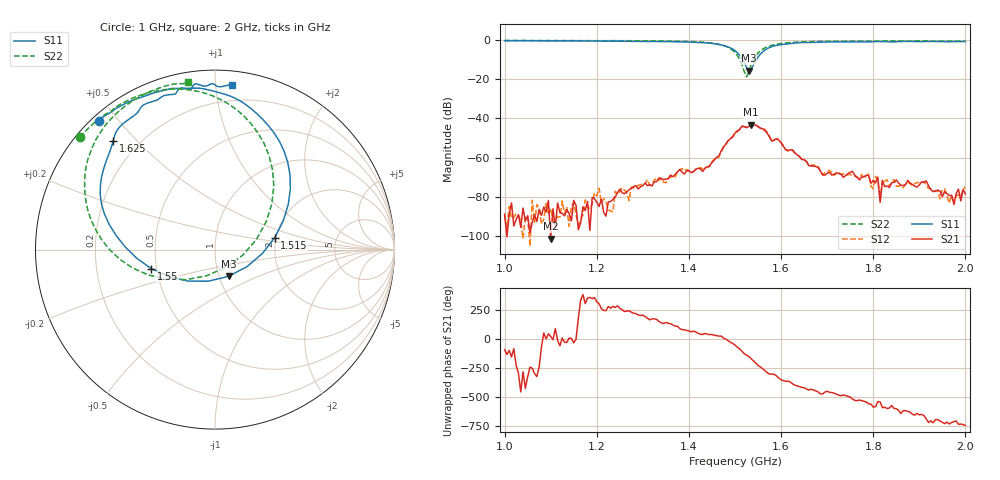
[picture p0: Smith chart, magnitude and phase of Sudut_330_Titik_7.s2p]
# Hz S RI R 50
! CMT, C1220, 16058040, 17.2.0/1
! Date: 14/08/2018 12:17:05
! Data: Format (Calibration Info)
! Freq  S11: Re/Im (F2)  S21: Re/Im (F2)  S12: Re/Im (F2)  S22: Re/Im (F2)
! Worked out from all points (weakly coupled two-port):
!   201 points, 1 GHz to 2 GHz, reference 50 ohm
!   highest |S21| = -43.24 dB at 1.535 GHz (marker M1); lowest = -101.4 dB at 1.1 GHz (marker M2)
!   lowest |S11| = -15.5 dB at 1.53 GHz (marker M3), VSWR 1.40, Z = 55.5 - j17 ohm
!   |S11| at or under -10 dB: 1.516 GHz to 1.546 GHz (29.88 MHz wide, 1.95 % of centre)
!   |S22| runs from -18.7 to -0.2 dB; largest |S21 - S12| = 0.00033
!   S11 on the Smith chart (normalised r, x): 1 GHz: 0.02, +0.44; 1.515 GHz: 1.97, +0.30; 1.55 GHz: 0.47, -0.12; 1.625 GHz: 0.11, +0.43; 2 GHz: 0.09, +1.11
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1e9  -0.6485 0.7145  -2.88e-06 -3.61e-05  3e-06 3.53e-05  -0.7538 0.6247
1.1e9  -0.559 0.7825  8.04e-06 2.94e-06  5.1e-05 -2.64e-06  -0.6808 0.6997
1.17e9  -0.4804 0.8231  5.15e-05 2.17e-05  3.26e-05 -1.18e-05  -0.617 0.7506
1.27e9  -0.338 0.8743  -6.99e-05 -0.000133  -2.99e-05 -7.46e-05  -0.5091 0.8198
1.335e9  -0.2227 0.898  -0.000265 0.000154  -0.000202 0.000164  -0.4008 0.8651
1.43e9  0.0896 0.8533  0.000351 0.000269  0.000435 0.000264  -0.0938 0.8815
1.5e9  0.4199 0.3395  0.00247 -0.00349  0.00229 -0.00332  0.3278 0.3541
1.515e9  0.3329 0.0673  -0.00177 -0.00605  -0.00161 -0.00616  0.2312 0.0568
1.53e9  0.0758 -0.1487  -0.00557 -0.00285  -0.00563 -0.00288  -0.0486 -0.1465
1.535e9  -0.0371 -0.1761  -0.00684 -0.000827  -0.00684 -0.00087  -0.1619 -0.1676
1.55e9  -0.3544 -0.1063  -0.00409 0.0047  -0.00425 0.00455  -0.4585 -0.1025
1.625e9  -0.5675 0.604  0.00138 -0.000771  0.00135 -0.00068  -0.7021 0.5207
1.67e9  -0.4487 0.7483  8.67e-05 -0.000604  7.84e-05 -0.00065  -0.6257 0.6724
1.79e9  -0.2156 0.8725  -0.000326 0.000135  -0.000353 0.000148  -0.4387 0.8406
1.8e9  -0.2086 0.8862  -0.000167 0.000203  -5.75e-05 0.00015  -0.4247 0.8487
1.81e9  -0.1964 0.8967  -0.000318 1.77e-05  -0.00014 0.000218  -0.411 0.8568
1.815e9  -0.1878 0.8987  -7.21e-05 7.18e-06  -6.64e-05 5.02e-05  -0.404 0.8606
1.82e9  -0.1777 0.8984  -0.000147 0.000212  -0.000208 0.000182  -0.3973 0.8636
1.835e9  -0.1445 0.8914  -9.01e-05 0.000147  -0.000108 0.000154  -0.3773 0.8735
1.91e9  -0.0389 0.9149  0.000129 0.000194  0.000198 0.000149  -0.2726 0.9126
1.945e9  0.00473 0.9139  0.000137 2.27e-05  8.43e-05 2.85e-05  -0.2212 0.9232
2e9  0.0956 0.9143  0.000103 -5.77e-05  0.000169 -5.79e-05  -0.153 0.9329
